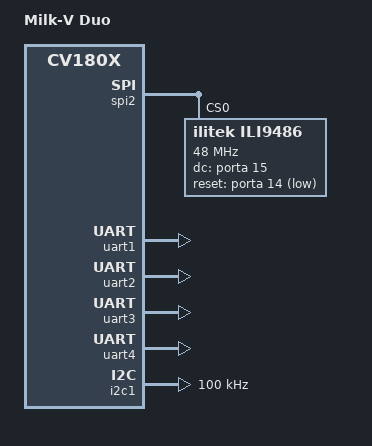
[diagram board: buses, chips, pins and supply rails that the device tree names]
/dts-v1/;
#include "cv180x_base_riscv.dtsi"
#include "cv180x_asic_qfn.dtsi"
#include "cv180x_asic_sd.dtsi"
#include "cv180x_default_memmap.dtsi"

&mipi_rx{
	snsr-reset = <&portc 8 GPIO_ACTIVE_LOW>, <&portc 8 GPIO_ACTIVE_LOW>, <&portc 8 GPIO_ACTIVE_LOW>;
};

&spi2 {
	status = "okay";

	/delete-node/ spidev@0;
	ili9486: ili9486@0{
		compatible = "ilitek,ili9486";
		reg = <0>;
		status = "okay";
		spi-max-frequency = <48000000>;
		rotate = <90>;
		fps = <60>;
		buswidth = <8>;
		bpp = <16>;
		write-only;

		dc-gpios = <&porta 15 0>;
		reset-gpios = <&porta 14 1>;

	};
};

&uart1 {
	status = "okay";
};

&uart2 {
	status = "okay";
};

&uart3 {
	status = "okay";
};

&uart4 {
	status = "okay";
};

&i2c1 {
       status = "okay";
       clock-frequency = <100000>;
};

/ {
	model = "Milk-V Duo";
};

